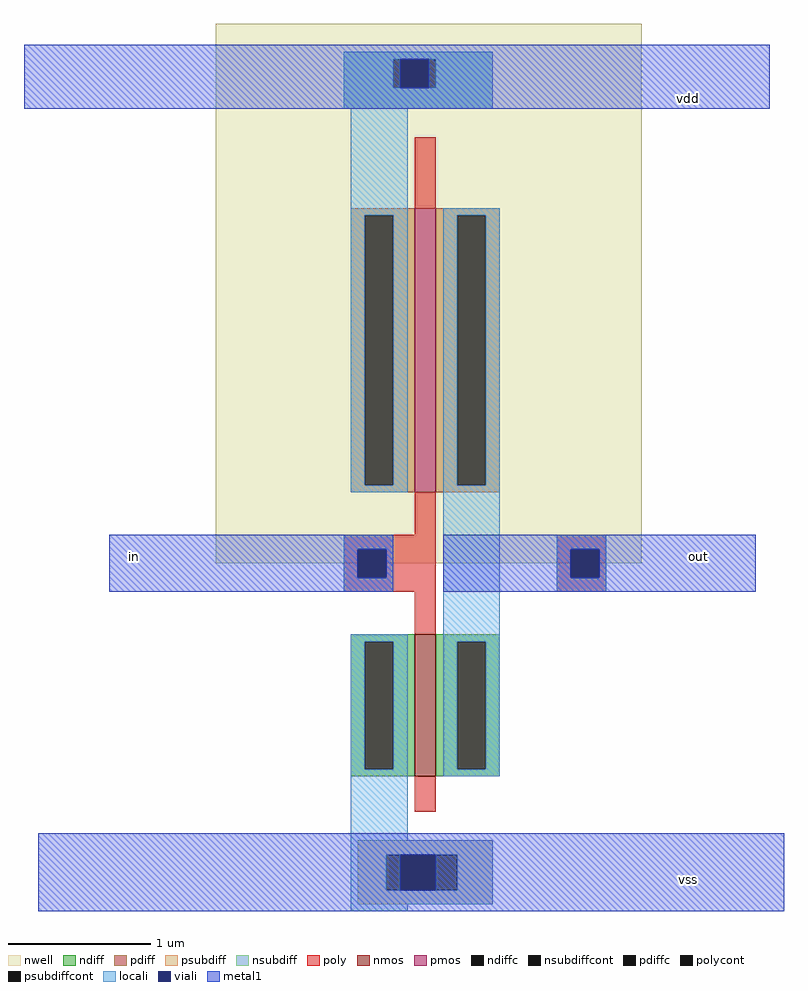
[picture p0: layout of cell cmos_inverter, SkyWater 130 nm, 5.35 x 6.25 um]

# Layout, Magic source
magic
tech sky130A
<< nwell >>
rect -350 -250 -50 130
<< nmos >>
rect -210 -400 -195 -300
<< pmos >>
rect -210 -200 -195 0
<< ndiff >>
rect -255 -305 -210 -300
rect -255 -395 -245 -305
rect -225 -395 -210 -305
rect -255 -400 -210 -395
rect -195 -305 -150 -300
rect -195 -395 -180 -305
rect -160 -395 -150 -305
rect -195 -400 -150 -395
<< pdiff >>
rect -255 -5 -210 0
rect -255 -195 -245 -5
rect -225 -195 -210 -5
rect -255 -200 -210 -195
rect -195 -5 -150 0
rect -195 -195 -180 -5
rect -160 -195 -150 -5
rect -195 -200 -150 -195
<< ndiffc >>
rect -245 -395 -225 -305
rect -180 -395 -160 -305
<< pdiffc >>
rect -245 -195 -225 -5
rect -180 -195 -160 -5
<< psubdiff >>
rect -250 -455 -155 -445
rect -250 -480 -230 -455
rect -180 -480 -155 -455
rect -250 -490 -155 -480
<< nsubdiff >>
rect -260 105 -155 110
rect -260 85 -225 105
rect -195 85 -155 105
rect -260 70 -155 85
<< psubdiffcont >>
rect -230 -480 -180 -455
<< nsubdiffcont >>
rect -225 85 -195 105
<< poly >>
rect -210 0 -195 50
rect -210 -230 -195 -200
rect -260 -240 -195 -230
rect -260 -260 -250 -240
rect -230 -260 -195 -240
rect -260 -270 -195 -260
rect -110 -240 -75 -230
rect -110 -260 -100 -240
rect -80 -260 -75 -240
rect -110 -270 -75 -260
rect -210 -300 -195 -270
rect -210 -425 -195 -400
<< polycont >>
rect -250 -260 -230 -240
rect -100 -260 -80 -240
<< locali >>
rect -260 105 -155 110
rect -260 85 -225 105
rect -195 85 -155 105
rect -260 70 -155 85
rect -255 -5 -215 70
rect -255 -195 -245 -5
rect -225 -195 -215 -5
rect -255 -200 -215 -195
rect -190 -5 -150 0
rect -190 -195 -180 -5
rect -160 -195 -150 -5
rect -260 -240 -225 -230
rect -260 -260 -250 -240
rect -230 -260 -225 -240
rect -260 -270 -225 -260
rect -255 -305 -215 -300
rect -255 -395 -245 -305
rect -225 -395 -215 -305
rect -255 -445 -215 -395
rect -190 -305 -150 -195
rect -110 -240 -75 -230
rect -110 -260 -100 -240
rect -80 -260 -75 -240
rect -110 -270 -75 -260
rect -190 -395 -180 -305
rect -160 -395 -150 -305
rect -190 -400 -150 -395
rect -255 -455 -155 -445
rect -255 -480 -230 -455
rect -180 -480 -155 -455
rect -255 -490 -155 -480
rect -255 -495 -215 -490
<< viali >>
rect -220 85 -200 105
rect -250 -260 -230 -240
rect -100 -260 -80 -240
rect -220 -480 -195 -455
<< metal1 >>
rect -485 105 40 115
rect -485 85 -220 105
rect -200 85 40 105
rect -485 70 40 85
rect -425 -240 -225 -230
rect -425 -260 -250 -240
rect -230 -260 -225 -240
rect -425 -270 -225 -260
rect -190 -240 30 -230
rect -190 -260 -100 -240
rect -80 -260 30 -240
rect -190 -270 30 -260
rect -475 -455 50 -440
rect -475 -480 -220 -455
rect -195 -480 50 -455
rect -475 -495 50 -480
<< labels >>
rlabel metal1 -20 75 -15 80 1 vdd
rlabel metal1 -20 -475 -15 -470 1 vss
rlabel metal1 -15 -255 -5 -235 1 out
rlabel metal1 -415 -250 -400 -240 1 in
<< end >>
